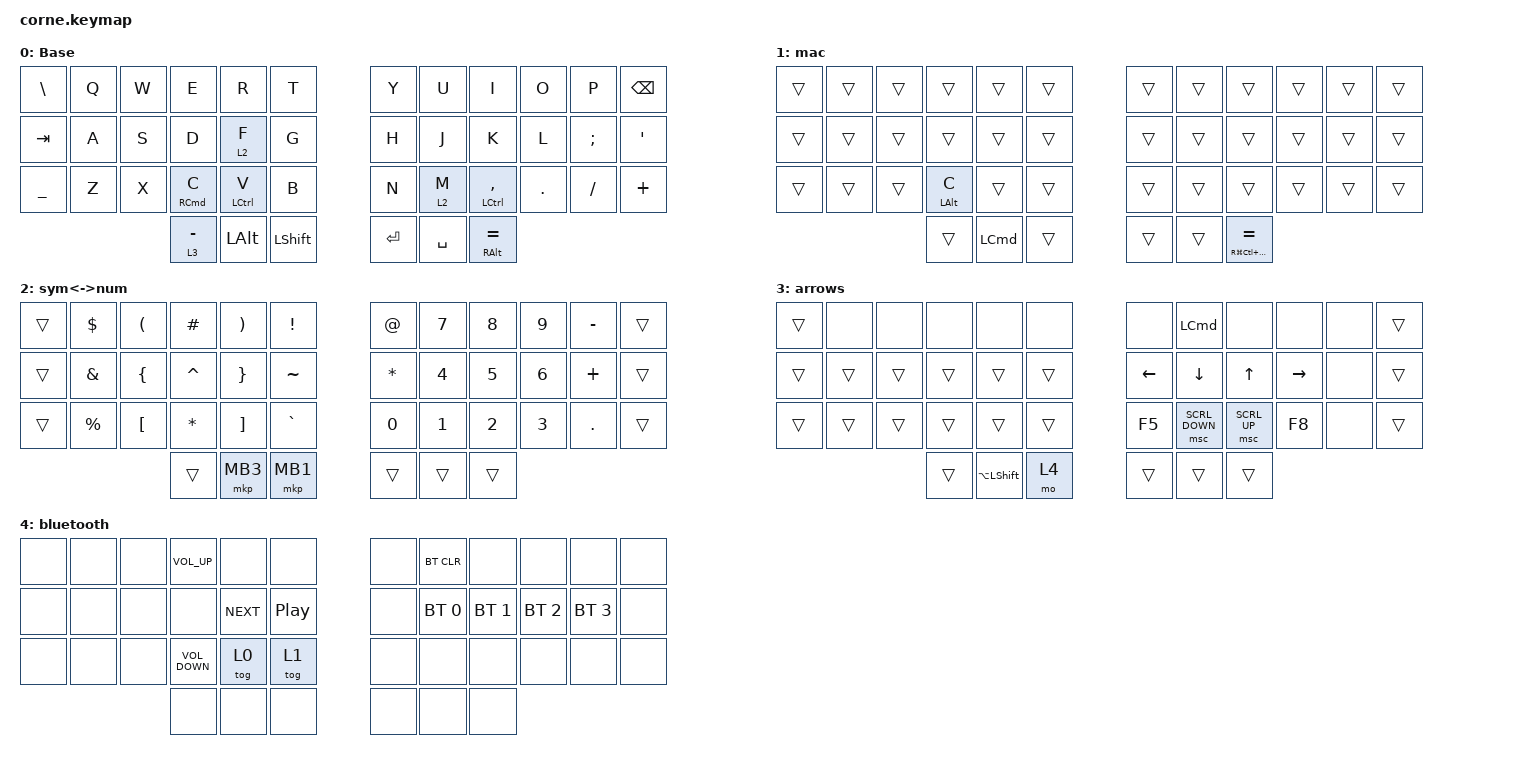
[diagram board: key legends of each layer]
/*
 * Copyright (c) 2020 The ZMK Contributors
 *
 * SPDX-License-Identifier: MIT
 */

#include <behaviors.dtsi>
#include <dt-bindings/zmk/bt.h>
#include <dt-bindings/zmk/keys.h>
#include <dt-bindings/zmk/pointing.h>

/ {
    behaviors {
        al: al {
            compatible = "zmk,behavior-hold-tap";
            label = "AL";
            bindings = <&mo>, <&kp>;

            #binding-cells = <2>;
            tapping-term-ms = <200>;
            quick-tap-ms = <175>;
            require-prior-idle-ms = <100>;
            flavor = "balanced";
            hold-trigger-on-release;
        };

        am: am {
            compatible = "zmk,behavior-hold-tap";
            label = "AM";
            bindings = <&kp>, <&kp>;

            #binding-cells = <2>;
            tapping-term-ms = <200>;
            quick-tap-ms = <175>;
            require-prior-idle-ms = <100>;
            flavor = "balanced";
            hold-trigger-on-release;
        };
    };

    keymap {
        compatible = "zmk,keymap";

        main {
            // -----------------------------------------------------------------------------------------
            // |  TAB |  Q  |  W  |  E  |  R  |  T  |   |  Y  |  U   |  I  |  O  |  P  | BKSP |
            // | CTRL |  A  |  S  |  D  |  F  |  G  |   |  H  |  J   |  K  |  L  |  ;  |  '   |
            // | SHFT |  Z  |  X  |  C  |  V  |  B  |   |  N  |  M   |  ,  |  .  |  /  | ESC  |
            //                    | GUI | LWR | SPC |   | ENT | RSE  | ALT |

            display-name = "Base";
            bindings = <
&kp BACKSLASH   &kp Q  &kp W  &kp E        &kp R               &kp T             &kp Y    &kp U      &kp I                &kp O    &kp P     &kp BSPC
&kp TAB         &kp A  &kp S  &kp D        &al 2 F             &kp G             &kp H    &kp J      &kp K                &kp L    &kp SEMI  &kp SQT
&kp UNDERSCORE  &kp Z  &kp X  &am RCMD C   &am LEFT_CONTROL V  &kp B             &kp N    &al 2 M    &am LCTRL COMMA      &kp DOT  &kp FSLH  &kp PLUS
                              &al 3 MINUS  &kp LEFT_ALT        &kp LEFT_SHIFT    &kp RET  &kp SPACE  &am RIGHT_ALT EQUAL
            >;
        };

        mac {
            // -----------------------------------------------------------------------------------------
            // |  TAB |  1  |  2  |  3  |  4  |  5  |   |  6  |  7  |  8  |  9  |  0  | BKSP |
            // | BTCLR| BT1 | BT2 | BT3 | BT4 | BT5 |   | LFT | DWN |  UP | RGT |     |      |
            // | SHFT |     |     |     |     |     |   |     |     |     |     |     |      |
            //                    | GUI |     | SPC |   | ENT |     | ALT |

            display-name = "mac";
            bindings = <
&trans  &trans  &trans  &trans          &trans            &trans    &trans  &trans  &trans                               &trans  &trans  &trans
&trans  &trans  &trans  &trans          &trans            &trans    &trans  &trans  &trans                               &trans  &trans  &trans
&trans  &trans  &trans  &am LEFT_ALT C  &trans            &trans    &trans  &trans  &trans                               &trans  &trans  &trans
                        &trans          &kp LEFT_COMMAND  &trans    &trans  &trans  &am RG(LC(LA(RIGHT_COMMAND))) EQUAL
            >;
        };

        symbols {
            // -----------------------------------------------------------------------------------------
            // |  TAB |  !  |  @  |  #  |  $  |  %  |   |  ^  |  &  |  *  |  (  |  )  | BKSP |
            // | CTRL |     |     |     |     |     |   |  -  |  =  |  [  |  ]  |  \  |  `   |
            // | SHFT |     |     |     |     |     |   |  _  |  +  |  {  |  }  | "|" |  ~   |
            //                    | GUI |     | SPC |   | ENT |     | ALT |

            display-name = "sym<->num";
            bindings = <
&trans  &kp DOLLAR     &kp LEFT_PARENTHESIS  &kp HASH      &kp RIGHT_PARENTHESIS  &kp EXCLAMATION    &kp AT        &kp N7        &kp N8        &kp N9        &kp MINUS   &trans
&trans  &kp AMPERSAND  &kp LEFT_BRACE        &kp CARET     &kp RIGHT_BRACE        &kp TILDE          &kp ASTERISK  &kp NUMBER_4  &kp N5        &kp NUMBER_6  &kp PLUS    &trans
&trans  &kp PERCENT    &kp LEFT_BRACKET      &kp ASTERISK  &kp RIGHT_BRACKET      &kp GRAVE          &kp N0        &kp NUMBER_1  &kp NUMBER_2  &kp NUMBER_3  &kp PERIOD  &trans
                                             &trans        &mkp MB3               &mkp MB1           &trans        &trans        &trans
            >;
        };

        arrows {
            bindings = <
&trans  &none   &none   &none   &none               &none     &none           &kp LCMD        &none         &none            &none  &trans
&trans  &trans  &trans  &trans  &trans              &trans    &kp LEFT_ARROW  &kp DOWN_ARROW  &kp UP_ARROW  &kp RIGHT_ARROW  &none  &trans
&trans  &trans  &trans  &trans  &trans              &trans    &kp F5          &msc SCRL_DOWN  &msc SCRL_UP  &kp F8           &none  &trans
                        &trans  &kp LA(LEFT_SHIFT)  &mo 4     &trans          &trans          &trans
            >;
        };

        bluetooth {
            bindings = <
&none  &none  &none  &kp C_VOLUME_UP    &none       &none               &none  &bt BT_CLR    &none         &none         &none         &none
&none  &none  &none  &none              &kp C_NEXT  &kp C_PLAY_PAUSE    &none  &bt BT_SEL 0  &bt BT_SEL 1  &bt BT_SEL 2  &bt BT_SEL 3  &none
&none  &none  &none  &kp C_VOLUME_DOWN  &tog 0      &tog 1              &none  &none         &none         &none         &none         &none
                     &none              &none       &none               &none  &none         &none
            >;

            label = "bluetooth";
        };
    };
};
